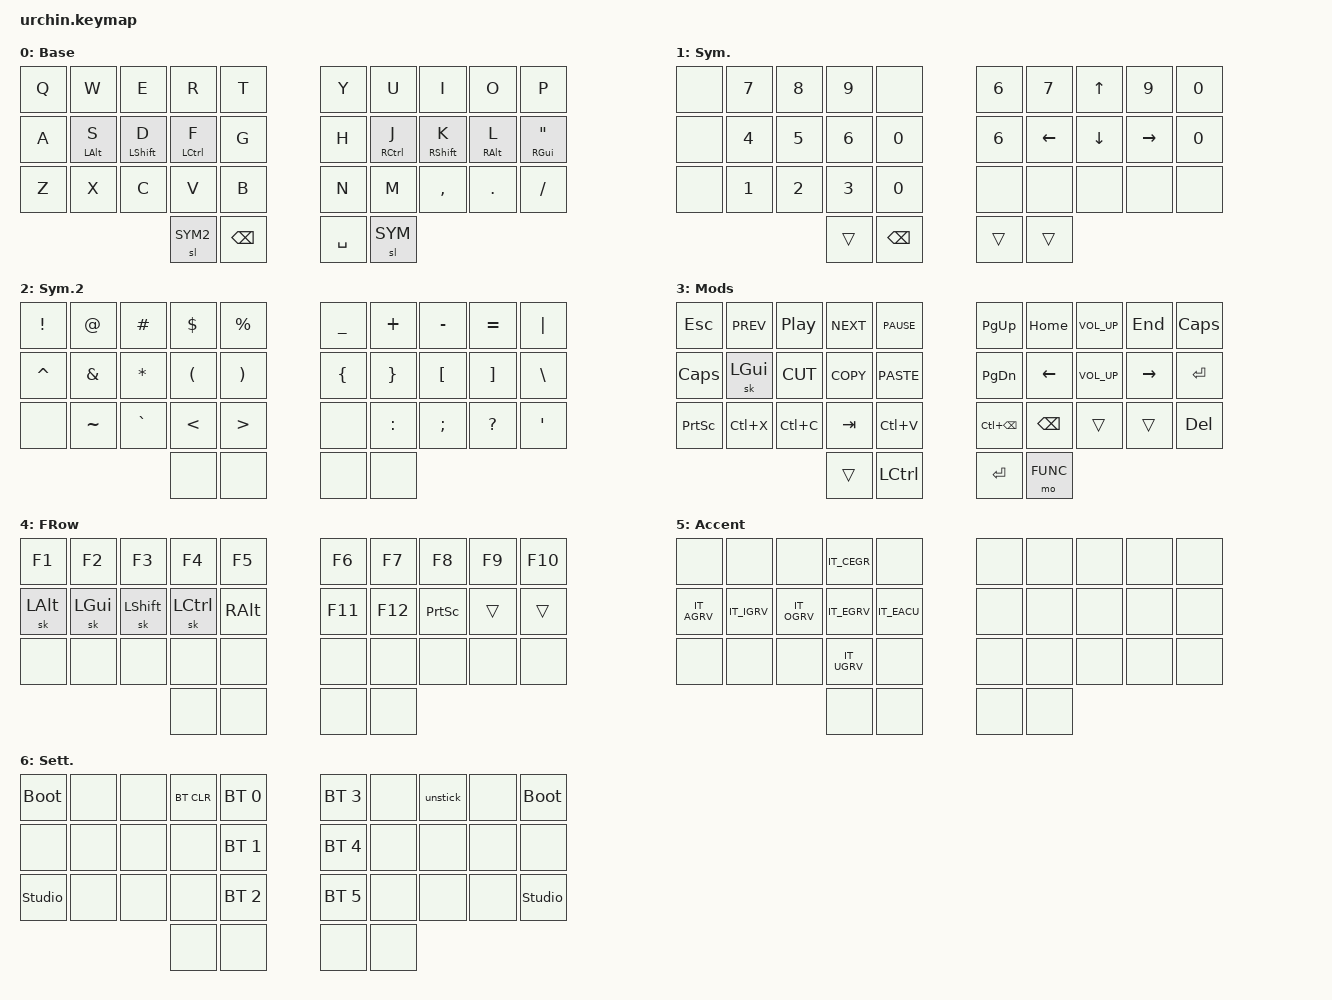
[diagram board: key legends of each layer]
/*
 * Copyright (c) 2020 duckyb
 *
 * SPDX-License-Identifier: MIT
 */

#include <behaviors.dtsi>
#include <dt-bindings/zmk/keys.h>
#include <dt-bindings/zmk/bt.h>
#include <dt-bindings/zmk/outputs.h>
#include "keymap_italian.h"

// Layer definitions
#define BASE 0
#define SYM 1
#define SYM2 2
#define EXT 3
#define FUNC 4
#define ACCENT 5
#define SETTINGS 6
// -----------------

&sk {
	// don't release mods on other mods presses
	ignore-modifiers;
};


/ {
	behaviors {
		// Enables holding the first mod-tap key
		// by performing a tap-release-hold sequence.
		// To use it: "&qt KEYCODE1 KEYCODE2"
		qt: quick_tap {
			compatible = "zmk,behavior-hold-tap";
			label = "QUICK_TAP";
			#binding-cells = <2>;
			flavor = "hold-preferred";
			tapping-term-ms = <200>;
			quick-tap-ms = <200>;
			bindings = <&kp>, <&kp>;
		};
		hml: home_row_mod_left {
            compatible = "zmk,behavior-hold-tap";
            #binding-cells = <2>;
            flavor = "balanced";
            require-prior-idle-ms = <150>;
            tapping-term-ms = <450>;
            quick-tap-ms = <150>;
            bindings = <&kp>, <&kp>;
            hold-trigger-key-positions = < 10 11 12 13 >; // List of keys on the left side of the keyboard
            hold-trigger-on-release;
        };
        hmr: home_row_mod_right {
            compatible = "zmk,behavior-hold-tap";
            #binding-cells = <2>;
            flavor = "balanced";
            require-prior-idle-ms = <150>;
            tapping-term-ms = <450>;
            quick-tap-ms = <150>;
            bindings = <&kp>, <&kp>;
            hold-trigger-key-positions = < 16 17 18 19 >; // List of keys on the right side of the keyboard
            hold-trigger-on-release;
        };
	};

	macros {
		// sometimes my device thinks a modifier is being held down
		// pressing all modifiers fixes it.
		unstick: unstick {
			label = "ZM_unstick";
			compatible = "zmk,behavior-macro";
			#binding-cells = <0>;
			bindings = <&kp LSHIFT &kp RSHIFT &kp LCTRL &kp RCTRL &kp LALT &kp RALT &kp LGUI &kp RGUI>;
		};
	};

combos {
		compatible = "zmk,combos";
		// both right thumbs
		combo_ext {
			timeout-ms = <100>;
			key-positions = < 32 33 >;
			bindings = <&mo FUNC>;
		};
		// both left thumb keys
		combo_functions {
			timeout-ms = <100>;
			key-positions = < 30 31 >;
			bindings = <&mo EXT>;
		};
		// all thumb keys
		combo_settings {
			timeout-ms = <200>;
			key-positions = < 30 31 32 33 >;
			bindings = <&mo SETTINGS>;
		};

		// tab combo
		combo_tab {
			timeout-ms = <100>;
			key-positions = < 7 8 >;
			bindings = <&kp TAB>;
			layers = <BASE>;
		};

		// enter combo
		combo_enter {
			timeout-ms = <100>;
			key-positions = < 17 18 >;
			bindings = <&kp ENTER>;
			layers = <BASE>;
		};
	};

	keymap {
		compatible = "zmk,keymap";
		// Base alpha layer
		default_layer {
			label = "Base";
			bindings = <
			&kp Q      &kp W      &kp E        &kp R       &kp T           &kp Y &kp U       &kp I        &kp O      &kp P
			&kp A      &mt LALT S &mt LSHIFT D &mt LCTRL F &kp G           &kp H &mt RCTRL J &mt RSHIFT K &mt RALT L &mt RGUI DOUBLE_QUOTES
			&kp Z      &kp X      &kp C        &kp V       &kp B           &kp N &kp M       &kp COMMA    &kp DOT    &kp SLASH
							                     &sl SYM2 &kp BSPC        &kp SPACE &sl SYM
			>;
		};

		// Numbers and arrow keys
		sym_layer {
			label = "Sym.";
			bindings = <
			&none       &kp N7      &kp N8      &kp N9      &none		    &kp N6     &kp N7      &kp UP       &kp N9       &kp N0
			&none       &kp N4      &kp N5      &kp N6      &kp N0		    &kp N6     &kp LEFT    &kp DOWN     &kp RIGHT    &kp N0
		 	&none       &kp N1      &kp N2      &kp N3      &kp N0 	        &none      &none       &none        &none        &none
													&trans  &kp BSPC   	 &trans &trans
			>;
		};

		// symbols
		symbols_2_layer {
			label = "Sym.2";
			bindings = <
			&kp EXCL    &kp AT        &kp HASH    &kp DOLLAR  &kp PERCENT        &kp UNDER &kp PLUS  &kp MINUS &kp EQUAL &kp PIPE
			&kp CARET   &kp AMPERSAND &kp ASTRK   &kp LPAR    &kp RPAR           &kp LBRC  &kp RBRC  &kp LBKT  &kp RBKT  &kp BSLH
			&none 		&kp TILDE     &kp GRAVE   &kp LT      &kp GT     	     &none     &kp COLON &kp SEMI  &kp QMARK &kp APOS
															&none &none        	&none &none
			>;
		};

		// Main modifiers and arrow keys
		ext_layer {
			label = "Mods";
			bindings = <
			&kp ESC   &kp C_PREV &kp C_PP   &kp C_NEXT &kp C_PAUSE    	 &kp PG_UP    &kp HOME &kp K_VOL_UP &kp END   &kp CAPS
			&kp CAPS  &sk LGUI   &kp K_CUT  &kp K_COPY &kp K_PASTE 	     &kp PG_DN    &kp LEFT &kp K_VOL_UP &kp RIGHT &kp ENTER
			&kp PSCRN &kp LC(X)  &kp LC(C)  &kp TAB    &kp LC(V)         &kp LC(BSPC) &kp BSPC &trans       &trans    &kp DEL
												&trans &kp LCTRL    	&kp ENTER  &mo FUNC
			>;
		};

		// Function keys with modifiers
		func_layer {
			label = "FRow";
			bindings = <
			&kp F1 &kp F2 &kp F3 &kp F4 &kp F5                  &kp F6  &kp F7  &kp F8 &kp F9 &kp F10
			&sk LALT &sk LGUI &sk LSHIFT &sk LCTRL &kp RALT     &kp F11 &kp F12 &kp PRINTSCREEN &trans &trans
			&none &none &none &none &none				        &none &none &none &none &none
							  &none &none              			&none &none
			>;
		};

		// Used to type regional accents.
		accent_layer {
			label = "Accent";
			bindings = <
			&none &none &none &kp IT_CEGR &none                         &none &none &none &none &none
			&kp IT_AGRV &kp IT_IGRV &kp IT_OGRV &kp IT_EGRV &kp IT_EACU &none &none &none &none &none
			&none &none &none &kp IT_UGRV &none                         &none &none &none &none &none
									&none &none                         &none &none
			>;
		};

		// Used to change the keyboard's settings.
		settings_layer {
				label = "Sett.";
				bindings = <
				&bootloader    &none &none &bt BT_CLR &bt BT_SEL 0               &bt BT_SEL 3 &none &unstick &none &bootloader
				&none 	       &none &none &none      &bt BT_SEL 1 			     &bt BT_SEL 4 &none &none    &none &none
				&studio_unlock &none &none &none      &bt BT_SEL 2               &bt BT_SEL 5 &none &none    &none &studio_unlock
										&none &none                         &none &none
				>;
		};
	};
};
